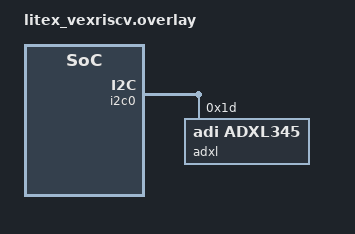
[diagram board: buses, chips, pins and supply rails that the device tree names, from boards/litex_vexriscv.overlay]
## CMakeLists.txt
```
cmake_minimum_required(VERSION 3.20.0)

find_package(Zephyr REQUIRED HINTS $ENV{ZEPHYR_BASE})
project(tensorflow_magic_wand)

# These samples use local static initialization. Since Zephyr doesn't support the
# C++ ABI for thread-safe initialization of local statics and the constructors don't
# appear to require thread safety, we turn it off in the C++ compiler.
set(NO_THREADSAFE_STATICS $<TARGET_PROPERTY:compiler-cpp,no_threadsafe_statics>)
zephyr_compile_options($<$<COMPILE_LANGUAGE:CXX>:${NO_THREADSAFE_STATICS}>)

file(GLOB app_sources src/*)
target_sources(app PRIVATE ${app_sources})
```

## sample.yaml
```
sample:
  description: Magic Wand TensorFlow sample
  name: magic wand tensorflow
tests:
  sample.tensorflow.magicwand:
    platform_allow: litex_vexriscv
    build_only: true
    tags: tensorflow
    integration_platforms:
      - litex_vexriscv
    modules:
      - tflite-micro
```

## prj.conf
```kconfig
# Copyright 2019 The TensorFlow Authors. All Rights Reserved.
#
# Licensed under the Apache License, Version 2.0 (the "License");
# you may not use this file except in compliance with the License.
# You may obtain a copy of the License at
#
#    http://www.apache.org/licenses/LICENSE-2.0
#
# Unless required by applicable law or agreed to in writing, software
# distributed under the License is distributed on an "AS IS" BASIS,
# WITHOUT WARRANTIES OR CONDITIONS OF ANY KIND, either express or implied.
# See the License for the specific language governing permissions and
# limitations under the License.
# ==============================================================================
CONFIG_CPP=y
CONFIG_STD_CPP17=y
CONFIG_REQUIRES_FLOAT_PRINTF=y
CONFIG_SENSOR=y
CONFIG_NETWORKING=n
CONFIG_MAIN_STACK_SIZE=4096
CONFIG_TENSORFLOW_LITE_MICRO=y
```

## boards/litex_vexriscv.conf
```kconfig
# Copyright 2019 The TensorFlow Authors. All Rights Reserved.
#
# Licensed under the Apache License, Version 2.0 (the "License");
# you may not use this file except in compliance with the License.
# You may obtain a copy of the License at
#
#    http://www.apache.org/licenses/LICENSE-2.0
#
# Unless required by applicable law or agreed to in writing, software
# distributed under the License is distributed on an "AS IS" BASIS,
# WITHOUT WARRANTIES OR CONDITIONS OF ANY KIND, either express or implied.
# See the License for the specific language governing permissions and
# limitations under the License.
# ==============================================================================
CONFIG_PWM=n
CONFIG_PWM_LITEX=n
CONFIG_I2C=y
```

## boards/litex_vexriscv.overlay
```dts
/* Copyright 2019 The TensorFlow Authors. All Rights Reserved.

Licensed under the Apache License, Version 2.0 (the "License");
you may not use this file except in compliance with the License.
You may obtain a copy of the License at

    http://www.apache.org/licenses/LICENSE-2.0

Unless required by applicable law or agreed to in writing, software
distributed under the License is distributed on an "AS IS" BASIS,
WITHOUT WARRANTIES OR CONDITIONS OF ANY KIND, either express or implied.
See the License for the specific language governing permissions and
limitations under the License.
==============================================================================*/

&i2c0 {
	reg = <0xe0003000 0x4 0xe0003004 0x4>;

	adxl@1d {
		compatible = "adi,adxl345";
		reg = <0x1d>;
	};

};

&pwm0 {
	status = "disabled";
};

&eth0 {
	status = "disabled";
};

&prbs0 {
	status = "disabled";
};
```

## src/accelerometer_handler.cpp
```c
/*
 * Copyright 2019 The TensorFlow Authors. All Rights Reserved.
 *
 * Licensed under the Apache License, Version 2.0 (the "License");
 * you may not use this file except in compliance with the License.
 * You may obtain a copy of the License at
 *
 *     http://www.apache.org/licenses/LICENSE-2.0
 *
 * Unless required by applicable law or agreed to in writing, software
 * distributed under the License is distributed on an "AS IS" BASIS,
 * WITHOUT WARRANTIES OR CONDITIONS OF ANY KIND, either express or implied.
 * See the License for the specific language governing permissions and
 * limitations under the License.
 */

#include "accelerometer_handler.hpp"

#include <zephyr/device.h>
#include <zephyr/drivers/sensor.h>
#include <stdio.h>
#include <string.h>
#include <zephyr/kernel.h>

#define BUFLEN 300
int begin_index = 0;
const struct device *const sensor = DEVICE_DT_GET_ONE(adi_adxl345);
int current_index = 0;

float bufx[BUFLEN] = { 0.0f };
float bufy[BUFLEN] = { 0.0f };
float bufz[BUFLEN] = { 0.0f };

bool initial = true;

TfLiteStatus SetupAccelerometer()
{
	if (!device_is_ready(sensor)) {
		printk("%s: device not ready.\n", sensor->name);
		return kTfLiteApplicationError;
	}

	MicroPrintf("Got accelerometer, name: %s\n", sensor->name);

	return kTfLiteOk;
}

bool ReadAccelerometer(float *input, int length)
{
	int rc;
	struct sensor_value accel[3];
	int samples_count;

	rc = sensor_sample_fetch(sensor);
	if (rc < 0) {
		MicroPrintf("Fetch failed\n");
		return false;
	}
	/* Skip if there is no data */
	if (!rc) {
		return false;
	}

	samples_count = rc;
	for (int i = 0; i < samples_count; i++) {
		rc = sensor_channel_get(sensor, SENSOR_CHAN_ACCEL_XYZ, accel);
		if (rc < 0) {
			MicroPrintf("ERROR: Update failed: %d\n", rc);
			return false;
		}
		bufx[begin_index] = (float)sensor_value_to_double(&accel[0]);
		bufy[begin_index] = (float)sensor_value_to_double(&accel[1]);
		bufz[begin_index] = (float)sensor_value_to_double(&accel[2]);
		begin_index++;
		if (begin_index >= BUFLEN) {
			begin_index = 0;
		}
	}

	if (initial && begin_index >= 100) {
		initial = false;
	}

	if (initial) {
		return false;
	}

	int sample = 0;
	for (int i = 0; i < (length - 3); i += 3) {
		int ring_index = begin_index + sample - length / 3;
		if (ring_index < 0) {
			ring_index += BUFLEN;
		}
		input[i] = bufx[ring_index];
		input[i + 1] = bufy[ring_index];
		input[i + 2] = bufz[ring_index];
		sample++;
	}
	return true;
}
```
